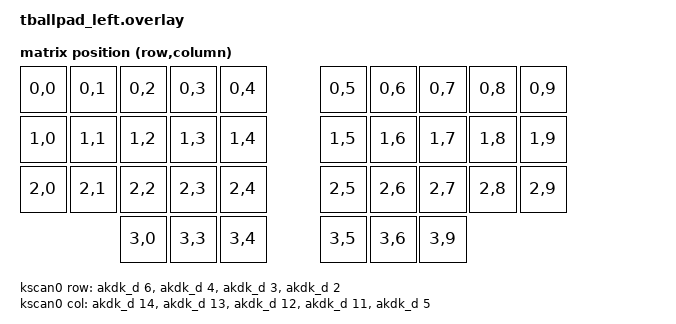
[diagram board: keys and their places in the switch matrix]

#include <dt-bindings/zmk/matrix_transform.h>
#include <input/processors.dtsi>
#include <dt-bindings/zmk/input_transform.h>
#include "layouts.dtsi"

/ {
    chosen {
        zmk,physical-layout = &physical_layout0;
    };

    default_transform: keymap_transform_0 {
        compatible = "zmk,matrix-transform";
        columns = <10>;
        rows = <4>;
        map = <
            RC(0,0) RC(0,1) RC(0,2) RC(0,3) RC(0,4) RC(0,5) RC(0,6) RC(0,7) RC(0,8) RC(0,9)
			RC(1,0) RC(1,1) RC(1,2) RC(1,3) RC(1,4) RC(1,5) RC(1,6) RC(1,7) RC(1,8) RC(1,9)
			RC(2,0) RC(2,1) RC(2,2) RC(2,3) RC(2,4) RC(2,5) RC(2,6) RC(2,7) RC(2,8) RC(2,9)
			RC(3,0) RC(3,3) RC(3,4) RC(3,5) RC(3,6) RC(3,9)
        >;
    };

    kscan0: kscan {
        compatible = "zmk,kscan-gpio-matrix";
        wakeup-source;

        diode-direction = "col2row";
        row-gpios
            = <&akdk_d 6 (GPIO_ACTIVE_HIGH | GPIO_PULL_DOWN)>
			,<&akdk_d 4 (GPIO_ACTIVE_HIGH | GPIO_PULL_DOWN)>
			,<&akdk_d 3 (GPIO_ACTIVE_HIGH | GPIO_PULL_DOWN)>
			,<&akdk_d 2 (GPIO_ACTIVE_HIGH | GPIO_PULL_DOWN)>
            ;
        col-gpios
            = <&akdk_d 14 GPIO_ACTIVE_HIGH>
			,<&akdk_d 13 GPIO_ACTIVE_HIGH>
			,<&akdk_d 12 GPIO_ACTIVE_HIGH>
			,<&akdk_d 11 GPIO_ACTIVE_HIGH>
			,<&akdk_d 5 GPIO_ACTIVE_HIGH>
            ;
    };

    split_inputs {
        #address-cells = <1>;
        #size-cells = <0>;
        trackpad_split: trackpad_split@0 {
            compatible = "zmk,input-split";
            reg = <0>;
            device = <&trackpad>;
        };
    };
};

&physical_layout0 {
    kscan = <&kscan0>;
    transform = <&default_transform>;
};

&pinctrl {
    i2c0_default: i2c0_default {
        group1 {
            psels = <NRF_PSEL(TWIM_SDA, 0, 12)>,
                    <NRF_PSEL(TWIM_SCL, 1, 9)>;
            bias-pull-up;
        };
    };

    i2c0_sleep: i2c0_sleep {
        group1 {
            psels = <NRF_PSEL(TWIM_SDA, 0, 12)>,
                    <NRF_PSEL(TWIM_SCL, 1, 9)>;
            bias-pull-up;
            low-power-enable;
        };
    };
};

&i2c0 {
    status = "okay";
    compatible = "nordic,nrf-twim";
    pinctrl-0 = <&i2c0_default>;
    pinctrl-1 = <&i2c0_sleep>;
    pinctrl-names = "default", "sleep";
    clock-frequency = <I2C_BITRATE_FAST>;
    zephyr,concat-buf-size = <32>;

    trackpad: trackpad@56 {
        status = "okay";
        compatible = "azoteq,iqs7211e";
        reg = <0x56>;
        irq-gpios = <&gpio0 13 GPIO_PULL_UP>;
    };
};

